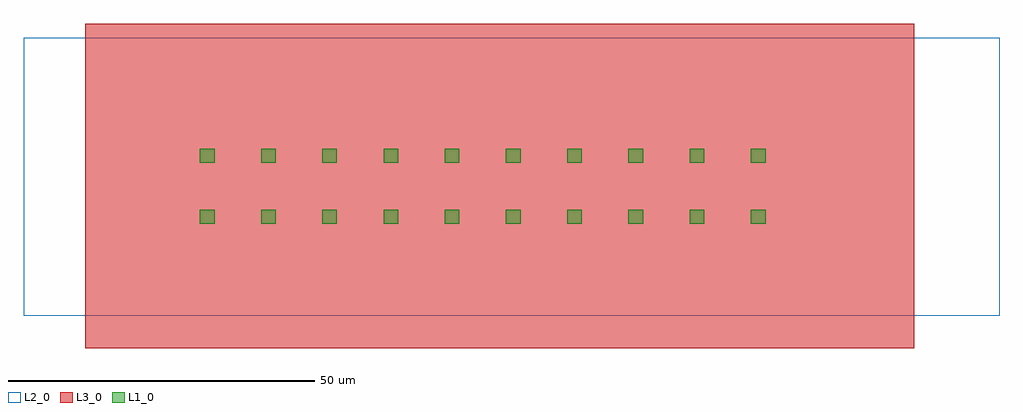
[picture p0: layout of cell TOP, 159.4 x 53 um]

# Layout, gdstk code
import gdstk
lib = gdstk.Library(unit=1e-6, precision=1e-09)
def R(c, l, rs):  # rectangles x0, y0, x1, y1
    for r in rs: c.add(gdstk.rectangle(r[:2], r[2:], *l))
L1_0 = (1, 0)
L2_0 = (2, 0)
L3_0 = (3, 0)

c_c1 = lib.new_cell('C1')
R(c_c1, L1_0, [(-1.2,-1,1.2,1.3)])

top = lib.new_cell('TOP')
R(top, L2_0, [(-12.6,-7.1,146.8,38.3)])
R(top, L3_0, [(-2.5,-12.4,132.9,40.6)])
r = gdstk.Reference(c_c1, (17.4,8.9)); r.repetition = gdstk.Repetition(10, 2, v1=(10,0), v2=(0,10)); top.add(r)

lib.write_gds('TOP.gds')
